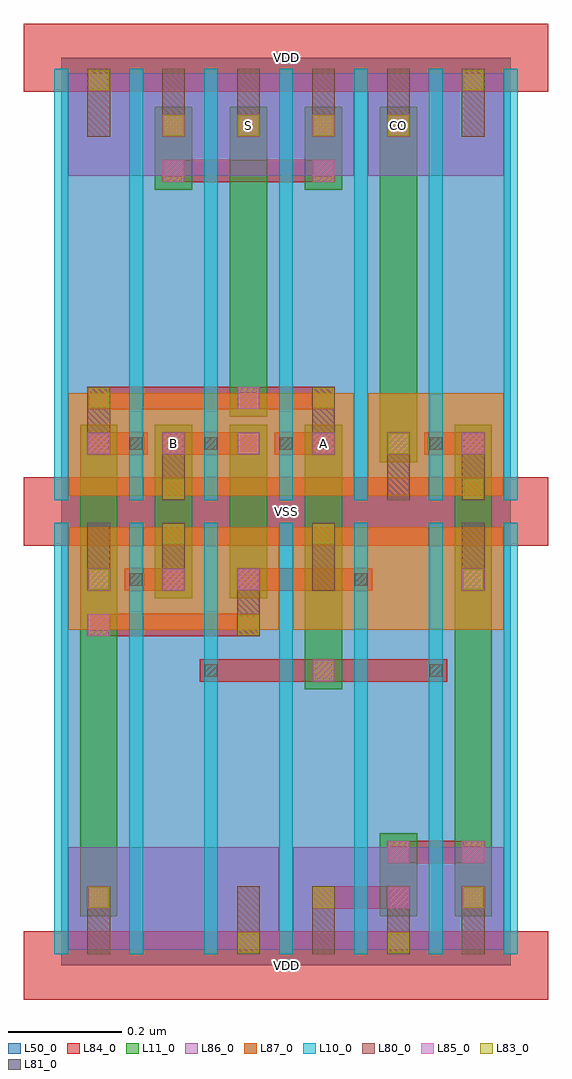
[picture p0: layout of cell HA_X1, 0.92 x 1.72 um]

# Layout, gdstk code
import gdstk
lib = gdstk.Library(unit=1e-6, precision=1e-09)
def R(c, l, rs):  # rectangles x0, y0, x1, y1
    for r in rs: c.add(gdstk.rectangle(r[:2], r[2:], *l))
def A(c, l, x, y, w, h, nx, ny, dx, dy):  # array of equal rectangles
    R(c, l, [(x+i*dx, y+j*dy, x+i*dx+w, y+j*dy+h) for i in range(nx) for j in range(ny)])
L10_0 = (10, 0)
L11_0 = (11, 0)
L50_0 = (50, 0)
L80_0 = (80, 0)
L81_0 = (81, 0)
L83_0 = (83, 0)
L84_0 = (84, 0)
L85_0 = (85, 0)
L86_0 = (86, 0)
L87_0 = (87, 0)

ha_x1 = lib.new_cell('HA_X1')
A(ha_x1, L10_0, -0.012, 0.02, 0.024, 0.76, 7, 2, 0.132, 0.8)
R(ha_x1, L11_0, [(0.033,0.087,0.099,0.953), (0.561,0.087,0.627,0.233), (0.693,0.087,0.759,0.953), (0.429,0.487,0.495,0.953), (0.165,0.647,0.231,0.953), (0.297,0.647,0.363,0.953), (0.561,0.887,0.627,1.513), (0.297,0.967,0.363,1.513), (0.165,1.367,0.231,1.513), (0.429,1.367,0.495,1.513)])
R(ha_x1, L50_0, [(0,0,0.792,1.6)])
A(ha_x1, L80_0, 0.31, 0.02, 0.04, 0.12, 4, 1, 0.132, 0)
A(ha_x1, L80_0, 0.178, 0.66, 0.04, 0.12, 3, 1, 0.264, 0)
A(ha_x1, L80_0, 0.046, 1.46, 0.04, 0.12, 6, 1, 0.132, 0)
R(ha_x1, L80_0, [(0.046,0.02,0.086,0.14), (0.31,0.58,0.35,0.7), (0.046,0.66,0.086,0.78), (0.178,0.82,0.218,0.94), (0.574,0.82,0.614,0.94), (0.706,0.82,0.746,0.94), (0.046,0.9,0.086,1.02), (0.442,0.9,0.482,1.02)])
A(ha_x1, L81_0, 0.121, 0.909, 0.022, 0.022, 3, 1, 0.132, 0)
R(ha_x1, L81_0, [(0.253,0.509,0.275,0.531), (0.649,0.509,0.671,0.531), (0.121,0.669,0.143,0.691), (0.517,0.669,0.539,0.691), (0.649,0.909,0.671,0.931)])
A(ha_x1, L83_0, 0.18, 1.462, 0.036, 0.036, 4, 1, 0.132, 0)
R(ha_x1, L83_0, [(0.312,0.022,0.348,0.058), (0.576,0.022,0.612,0.058), (0.048,0.102,0.084,0.138), (0.444,0.102,0.48,0.138), (0.708,0.102,0.744,0.138), (0.312,0.582,0.348,0.618), (0.048,0.662,0.084,0.698), (0.708,0.662,0.744,0.698), (0.18,0.742,0.216,0.778), (0.444,0.742,0.48,0.778), (0.18,0.822,0.216,0.858), (0.708,0.822,0.744,0.858), (0.576,0.902,0.612,0.938), (0.048,0.982,0.084,1.018), (0.444,0.982,0.48,1.018), (0.048,1.542,0.084,1.578), (0.708,1.542,0.744,1.578)])
A(ha_x1, L84_0, -0.066, -0.06, 0.924, 0.12, 1, 3, 0, 0.8)
A(ha_x1, L84_0, 0.178, 1.46, 0.04, 0.04, 4, 1, 0.132, 0)
R(ha_x1, L84_0, [(0.046,0.1,0.086,0.14), (0.442,0.1,0.614,0.14), (0.706,0.1,0.746,0.14), (0.574,0.18,0.746,0.22), (0.244,0.5,0.68,0.54), (0.046,0.58,0.35,0.62), (0.046,0.66,0.086,0.7), (0.112,0.66,0.218,0.7), (0.31,0.66,0.548,0.7), (0.706,0.66,0.746,0.7), (0.046,0.9,0.152,0.94), (0.178,0.9,0.35,0.94), (0.376,0.9,0.482,0.94), (0.574,0.9,0.614,0.94), (0.64,0.9,0.746,0.94), (0.046,0.98,0.482,1.02), (0.178,1.38,0.482,1.42)])
A(ha_x1, L85_0, 0.047, 0.661, 0.038, 0.038, 3, 1, 0.132, 0)
A(ha_x1, L85_0, 0.047, 0.901, 0.038, 0.038, 6, 1, 0.132, 0)
A(ha_x1, L85_0, 0.179, 1.461, 0.038, 0.038, 4, 1, 0.132, 0)
R(ha_x1, L85_0, [(0.047,0.101,0.085,0.139), (0.575,0.101,0.613,0.139), (0.707,0.101,0.745,0.139), (0.575,0.181,0.613,0.219), (0.707,0.181,0.745,0.219), (0.443,0.501,0.481,0.539), (0.047,0.581,0.085,0.619), (0.707,0.661,0.745,0.699), (0.311,0.981,0.349,1.019), (0.179,1.381,0.217,1.419), (0.443,1.381,0.481,1.419)])
R(ha_x1, L86_0, [(0.012,0.028,0.384,0.208), (0.408,0.028,0.78,0.208), (0.012,1.392,0.516,1.572), (0.54,1.392,0.78,1.572)])
R(ha_x1, L87_0, [(0.012,0.592,0.384,0.772), (0.408,0.592,0.78,0.772), (0.012,0.828,0.516,1.008), (0.54,0.828,0.78,1.008)])
ha_x1.add(gdstk.Label('VDD', (0.396,1.6), layer=88, texttype=0))
ha_x1.add(gdstk.Label('VDD', (0.396,0), layer=88, texttype=0))
ha_x1.add(gdstk.Label('VSS', (0.396,0.8), layer=88, texttype=0))
ha_x1.add(gdstk.Label('CO', (0.594,1.48), layer=31, texttype=0))
ha_x1.add(gdstk.Label('B', (0.198,0.92), layer=31, texttype=0))
ha_x1.add(gdstk.Label('S', (0.33,1.48), layer=31, texttype=0))
ha_x1.add(gdstk.Label('A', (0.462,0.92), layer=31, texttype=0))

lib.write_gds('HA_X1.gds')
